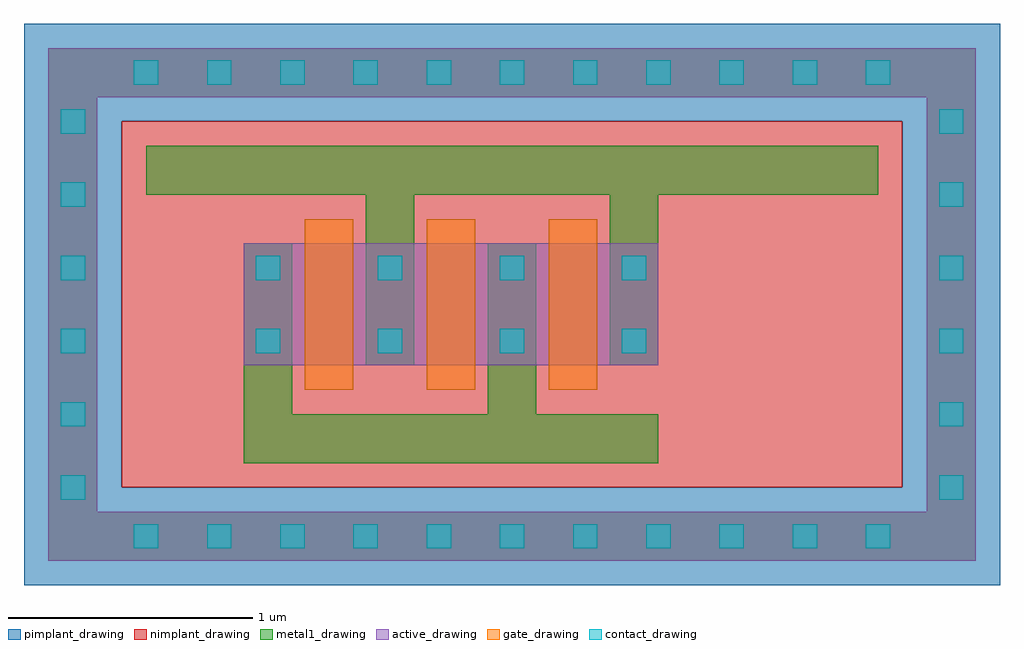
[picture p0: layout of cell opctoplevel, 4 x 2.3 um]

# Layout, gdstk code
import gdstk
lib = gdstk.Library(unit=1e-6, precision=1e-09)
def R(c, l, rs):  # rectangles x0, y0, x1, y1
    for r in rs: c.add(gdstk.rectangle(r[:2], r[2:], *l))
def A(c, l, x, y, w, h, nx, ny, dx, dy):  # array of equal rectangles
    R(c, l, [(x+i*dx, y+j*dy, x+i*dx+w, y+j*dy+h) for i in range(nx) for j in range(ny)])
active_drawing = (1, 0)
pimplant_drawing = (4, 0)
nimplant_drawing = (5, 0)
gate_drawing = (6, 0)
contact_drawing = (7, 0)
metal1_drawing = (8, 0)

opctoplevel = lib.new_cell('opctoplevel')
R(opctoplevel, active_drawing, [(-1.05,-0.8,2.75,-0.6), (-1.05,-0.8,-0.85,1.3), (2.55,-0.8,2.75,1.3), (-0.25,0,1.45,0.5), (-1.05,1.1,2.75,1.3)])
R(opctoplevel, pimplant_drawing, [(-1.15,-0.9,2.85,-0.5), (-1.15,-0.9,-0.75,1.4), (2.45,-0.9,2.85,1.4), (-1.15,1,2.85,1.4)])
R(opctoplevel, nimplant_drawing, [(-0.75,-0.5,2.45,1)])
A(opctoplevel, gate_drawing, 0, -0.1, 0.2, 0.7, 3, 1, 0.5, 0)
A(opctoplevel, contact_drawing, -0.7, -0.75, 0.1, 0.1, 11, 2, 0.3, 1.9)
A(opctoplevel, contact_drawing, -1, -0.55, 0.1, 0.1, 1, 6, 0, 0.3)
A(opctoplevel, contact_drawing, 2.6, -0.55, 0.1, 0.1, 1, 6, 0, 0.3)
A(opctoplevel, contact_drawing, -0.2, 0.05, 0.1, 0.1, 4, 2, 0.5, 0.3)
A(opctoplevel, metal1_drawing, -0.25, 0, 0.2, 0.5, 4, 1, 0.5, 0)
R(opctoplevel, metal1_drawing, [(-1.05,-0.8,2.75,-0.6), (-1.05,-0.8,-0.85,1.3), (2.55,-0.8,2.75,1.3), (-0.25,-0.4,1.45,-0.2), (-0.25,-0.2,-0.05,0), (0.75,-0.2,0.95,0), (0.25,0.5,0.45,0.7), (1.25,0.5,1.45,0.7), (-0.65,0.7,2.35,0.9), (-1.05,1.1,2.75,1.3)])

lib.write_gds('opctoplevel.gds')
